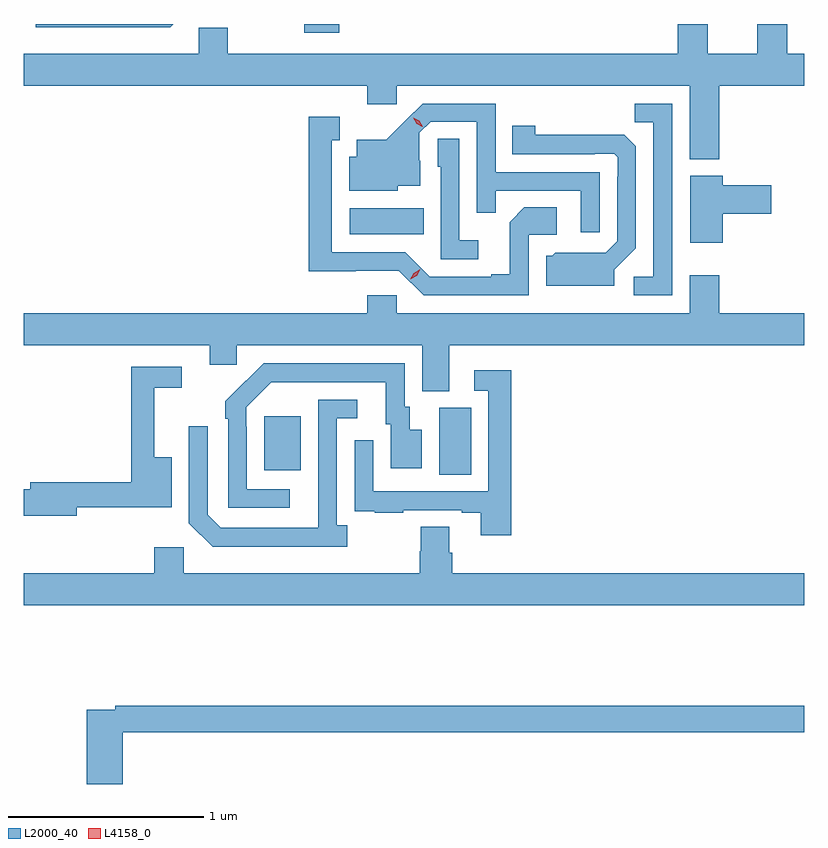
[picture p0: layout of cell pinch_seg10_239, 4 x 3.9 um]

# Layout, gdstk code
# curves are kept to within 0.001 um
import gdstk
lib = gdstk.Library(unit=1e-6, precision=1e-09)
def R(c, l, rs):  # rectangles x0, y0, x1, y1
    for r in rs: c.add(gdstk.rectangle(r[:2], r[2:], *l))
def P(c, l, *ps):  # polygons
    for p in ps: c.add(gdstk.Polygon(p, *l))
L2000_40 = (2000, 40)
L4158_0 = (4158, 0)

pinch_seg10_239 = lib.new_cell('pinch_seg10_239')
R(pinch_seg10_239, L2000_40, [(594.266,1306.312,594.43,1306.656), (593.369,1306.337,593.557,1306.612), (593.808,1307.546,594.188,1307.68), (593.575,1308.579,593.753,1308.624)])
P(pinch_seg10_239, L2000_40, [(595.703,1308.308),(596.137,1308.308),(596.137,1308.472),(596.051,1308.472),(596.051,1308.624),(595.898,1308.624),(595.898,1308.472),(595.642,1308.472),(595.642,1308.624),(595.49,1308.624),(595.49,1308.472),(593.181,1308.472),(593.181,1308.604),(593.034,1308.604),(593.034,1308.472),(592.137,1308.472),(592.137,1308.308),(593.897,1308.308),(593.897,1308.213),(594.048,1308.213),(594.048,1308.308),(595.55,1308.308),(595.55,1307.93),(595.703,1307.93)],
  [(592.902,1308.624),(592.197,1308.624),(592.197,1308.608),(592.886,1308.608)],
  [(595.461,1308.216),(595.27,1308.216),(595.27,1308.121),(595.365,1308.121),(595.365,1307.328),(595.263,1307.328),(595.263,1307.232),(595.461,1307.232)],
  [(595.089,1307.865),(594.555,1307.865),(594.555,1308.216),(594.182,1308.216),(593.995,1308.031),(593.843,1308.031),(593.843,1307.944),(593.804,1307.944),(593.804,1307.768),(594.054,1307.768),(594.054,1307.795),(594.169,1307.795),(594.169,1307.924),(594.165,1307.924),(594.165,1308.066),(594.222,1308.123),(594.459,1308.123),(594.459,1307.656),(594.557,1307.656),(594.557,1307.769),(594.993,1307.769),(594.993,1307.556),(595.089,1307.556)],
  [(594.726,1307.544),(594.868,1307.544),(594.868,1307.684),(594.703,1307.684),(594.627,1307.608),(594.627,1307.341),(594.533,1307.341),(594.533,1307.328),(594.219,1307.328),(594.093,1307.454),(593.716,1307.454),(593.716,1308.027),(593.755,1308.027),(593.755,1308.148),(593.598,1308.148),(593.598,1307.357),(594.06,1307.358),(594.186,1307.232),(594.726,1307.232)],
  [(595.165,1307.364),(595.275,1307.474),(595.275,1307.996),(595.216,1308.055),(594.759,1308.056),(594.759,1308.103),(594.64,1308.103),(594.64,1307.955),(595.064,1307.955),(595.064,1307.958),(595.164,1307.958),(595.182,1307.94),(595.182,1307.84),(595.179,1307.84),(595.179,1307.511),(595.119,1307.451),(594.862,1307.452),(594.846,1307.436),(594.815,1307.436),(594.815,1307.282),(595.165,1307.282)],
  [(594.466,1307.515),(594.369,1307.515),(594.369,1308.035),(594.258,1308.035),(594.258,1307.892),(594.273,1307.892),(594.273,1307.418),(594.466,1307.418)],
  [(595.72,1307.651),(595.969,1307.651),(595.969,1307.798),(595.72,1307.798),(595.72,1307.845),(595.553,1307.845),(595.553,1307.502),(595.72,1307.502)],
  [(594.319,1306.976),(596.137,1306.976),(596.137,1307.14),(595.703,1307.14),(595.703,1307.335),(595.55,1307.335),(595.55,1307.14),(594.048,1307.14),(594.048,1307.233),(593.897,1307.233),(593.897,1307.14),(592.137,1307.14),(592.137,1306.976),(593.09,1306.976),(593.09,1306.878),(593.229,1306.878),(593.229,1306.976),(594.179,1306.976),(594.179,1306.741),(594.319,1306.741)],
  [(593.5,1306.239),(593.28,1306.239),(593.28,1306.559),(593.277,1306.559),(593.277,1306.659),(593.406,1306.788),(593.993,1306.788),(593.993,1306.572),(594.017,1306.572),(594.017,1306.347),(594.178,1306.347),(594.178,1306.543),(594.115,1306.543),(594.115,1306.662),(594.09,1306.662),(594.09,1306.884),(593.366,1306.884),(593.169,1306.689),(593.169,1306.601),(593.184,1306.601),(593.184,1306.143),(593.5,1306.143)],
  [(592.408,1306.146),(592.894,1306.146),(592.894,1306.402),(592.805,1306.402),(592.805,1306.758),(592.945,1306.758),(592.945,1306.866),(592.687,1306.866),(592.687,1306.274),(592.169,1306.274),(592.169,1306.238),(592.137,1306.238),(592.137,1306.103),(592.408,1306.103)],
  [(594.635,1306.849),(594.447,1306.849),(594.447,1306.743),(594.519,1306.743),(594.519,1306.227),(593.928,1306.227),(593.928,1306.489),(593.832,1306.489),(593.832,1306.234),(593.833,1306.234),(593.833,1306.125),(593.935,1306.125),(593.935,1306.119),(594.083,1306.119),(594.083,1306.131),(594.383,1306.131),(594.383,1306.119),(594.479,1306.119),(594.479,1306.002),(594.635,1306.002)],
  [(593.794,1306.054),(593.742,1306.054),(593.742,1306.602),(593.845,1306.602),(593.845,1306.698),(593.646,1306.698),(593.645,1306.041),(593.145,1306.041),(593.079,1306.107),(593.079,1306.561),(592.983,1306.561),(592.983,1306.065),(593.104,1305.944),(593.794,1305.944)],
  [(596.137,1305.808),(594.332,1305.808),(594.332,1305.914),(594.319,1305.914),(594.319,1306.046),(594.172,1306.046),(594.172,1305.921),(594.167,1305.921),(594.167,1305.808),(592.956,1305.808),(592.956,1305.94),(592.805,1305.94),(592.805,1305.808),(592.137,1305.808),(592.137,1305.644),(596.137,1305.644)],
  [(592.643,1304.992),(596.137,1304.992),(596.137,1305.128),(592.606,1305.128),(592.606,1305.108),(592.46,1305.108),(592.46,1304.727),(592.643,1304.727)])
P(pinch_seg10_239, L4158_0, [(594.18,1308.098),(594.15,1308.113),(594.132,1308.143),(594.132,1308.143),(594.132,1308.143),(594.163,1308.128),(594.181,1308.098),(594.181,1308.098)],
  [(594.118,1307.315),(594.118,1307.315),(594.136,1307.347),(594.168,1307.366),(594.168,1307.366),(594.168,1307.366),(594.15,1307.333),(594.118,1307.315)])

lib.write_gds('pinch_seg10_239.gds')
